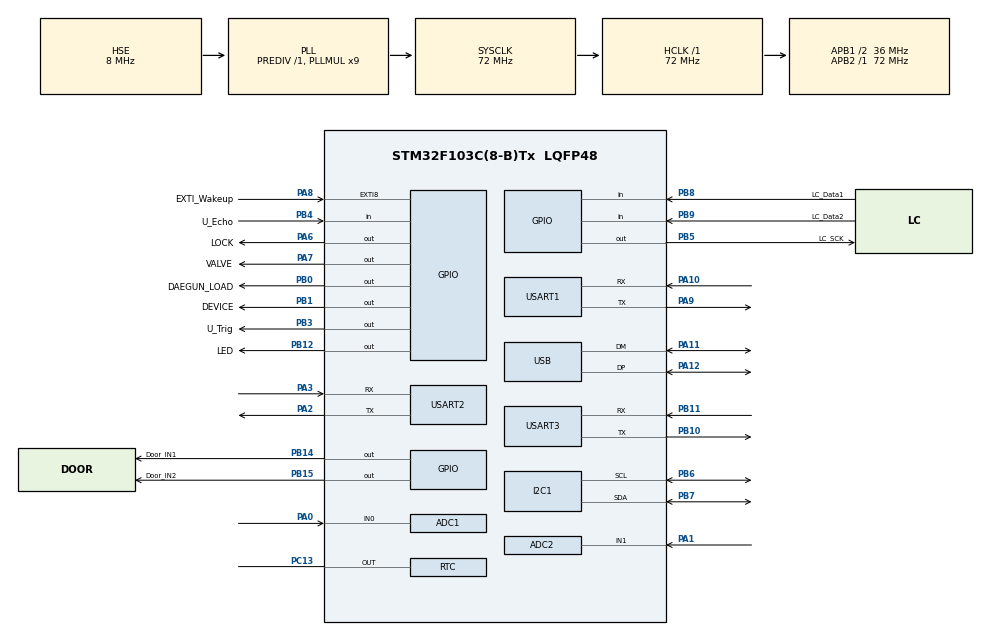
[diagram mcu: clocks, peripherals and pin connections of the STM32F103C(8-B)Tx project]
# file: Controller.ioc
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ADC1.Channel-0\#ChannelRegularConversion=ADC_CHANNEL_0
ADC1.NbrOfConversionFlag=1
ADC1.Rank-0\#ChannelRegularConversion=1
ADC1.SamplingTime-0\#ChannelRegularConversion=ADC_SAMPLETIME_1CYCLE_5
ADC1.master=1
ADC2.Channel-0\#ChannelRegularConversion=ADC_CHANNEL_1
ADC2.NbrOfConversionFlag=1
ADC2.Rank-0\#ChannelRegularConversion=1
ADC2.SamplingTime-0\#ChannelRegularConversion=ADC_SAMPLETIME_1CYCLE_5
I2C1.I2C_Mode=I2C_Fast
Mcu.Family=STM32F1
Mcu.Name=STM32F103C(8-B)Tx
Mcu.Package=LQFP48
NVIC.EXTI9_5_IRQn=true\:0\:0\:false\:false\:true\:true\:true\:true
NVIC.PriorityGroup=NVIC_PRIORITYGROUP_4
NVIC.RTC_Alarm_IRQn=true\:0\:0\:false\:false\:true\:true\:true\:true
NVIC.RTC_IRQn=true\:0\:0\:false\:false\:true\:true\:true\:true
NVIC.USART1_IRQn=true\:0\:0\:false\:false\:true\:true\:true\:true
NVIC.USART2_IRQn=true\:0\:0\:false\:false\:true\:true\:true\:true
NVIC.USB_LP_CAN1_RX0_IRQn=true\:0\:0\:false\:false\:true\:false\:true\:true
PA0-WKUP.Signal=ADCx_IN0
PA1.Signal=ADCx_IN1
PA10.Mode=Asynchronous
PA10.Signal=USART1_RX
PA11.Mode=Device
PA11.Signal=USB_DM
PA12.Mode=Device
PA12.Signal=USB_DP
PA13.Mode=Serial_Wire
PA13.Signal=SYS_JTMS-SWDIO
PA14.Mode=Serial_Wire
PA14.Signal=SYS_JTCK-SWCLK
PA2.Mode=Asynchronous
PA2.Signal=USART2_TX
PA3.Mode=Asynchronous
PA3.Signal=USART2_RX
PA6.GPIO_Label=LOCK
PA6.GPIO_ModeDefaultOutputPP=GPIO_MODE_OUTPUT_PP
PA6.GPIO_PuPd=GPIO_NOPULL
PA6.PinState=GPIO_PIN_RESET
PA6.Signal=GPIO_Output
PA7.GPIO_Label=VALVE
PA7.GPIO_ModeDefaultOutputPP=GPIO_MODE_OUTPUT_PP
PA7.GPIO_PuPd=GPIO_NOPULL
PA7.PinState=GPIO_PIN_RESET
PA7.Signal=GPIO_Output
PA8.GPIO_Label=EXTI_Wakeup
PA8.Signal=GPXTI8
PA9.Mode=Asynchronous
PA9.Signal=USART1_TX
PB0.GPIO_Label=DAEGUN_LOAD
PB0.GPIO_ModeDefaultOutputPP=GPIO_MODE_OUTPUT_OD
PB0.GPIO_PuPd=GPIO_NOPULL
PB0.PinState=GPIO_PIN_SET
PB0.Signal=GPIO_Output
PB1.GPIO_Label=DEVICE
PB1.GPIO_ModeDefaultOutputPP=GPIO_MODE_OUTPUT_OD
PB1.GPIO_PuPd=GPIO_PULLUP
PB1.PinState=GPIO_PIN_RESET
PB1.Signal=GPIO_Output
PB10.Mode=Asynchronous
PB10.Signal=USART3_TX
PB11.Mode=Asynchronous
PB11.Signal=USART3_RX
PB12.GPIO_Label=LED
PB12.Signal=GPIO_Output
PB14.GPIO_Label=Door_IN1
PB14.Signal=GPIO_Output
PB15.GPIO_Label=Door_IN2
PB15.Signal=GPIO_Output
PB3.GPIO_Label=U_Trig
PB3.Signal=GPIO_Output
PB4.GPIO_Label=U_Echo
PB4.GPIO_PuPd=GPIO_PULLDOWN
PB4.Signal=GPIO_Input
PB5.GPIO_Label=LC_SCK
PB5.Signal=GPIO_Output
PB6.Mode=I2C
PB6.Signal=I2C1_SCL
PB7.Mode=I2C
PB7.Signal=I2C1_SDA
PB8.GPIO_Label=LC_Data1
PB8.GPIO_PuPd=GPIO_PULLUP
PB8.Signal=GPIO_Input
PB9.GPIO_Label=LC_Data2
PB9.GPIO_PuPd=GPIO_PULLUP
PB9.Signal=GPIO_Input
PC13-TAMPER-RTC.Mode=RTC OUT
PC13-TAMPER-RTC.Signal=RTC_OUT
PC14-OSC32_IN.Mode=LSE-External-Oscillator
PC14-OSC32_IN.Signal=RCC_OSC32_IN
PC15-OSC32_OUT.Mode=LSE-External-Oscillator
PC15-OSC32_OUT.Signal=RCC_OSC32_OUT
PD0-OSC_IN.Mode=HSE-External-Oscillator
PD0-OSC_IN.Signal=RCC_OSC_IN
PD1-OSC_OUT.Mode=HSE-External-Oscillator
PD1-OSC_OUT.Signal=RCC_OSC_OUT
ProjectManager.HeapSize=0x200
ProjectManager.StackSize=0x400
ProjectManager.TargetToolchain=STM32CubeIDE
RCC.ADCPresc=RCC_ADCPCLK2_DIV6
RCC.AHBFreq_Value=72000000
RCC.APB1CLKDivider=RCC_HCLK_DIV2
RCC.APB1Freq_Value=36000000
RCC.APB1TimFreq_Value=72000000
RCC.APB2Freq_Value=72000000
RCC.APB2TimFreq_Value=72000000
RCC.HCLKFreq_Value=72000000
RCC.PLLMUL=RCC_PLL_MUL9
RCC.RTCClockSelection=RCC_RTCCLKSOURCE_LSE
RCC.SYSCLKFreq_VALUE=72000000
RCC.SYSCLKSource=RCC_SYSCLKSOURCE_PLLCLK
RCC.USBFreq_Value=48000000
RCC.USBPrescaler=RCC_USBCLKSOURCE_PLL_DIV1_5
RTC.Format=RTC_FORMAT_BIN
RTC.Hours_A-RTC\ OUT=12
SH.ADCx_IN0.0=ADC1_IN0,IN0
SH.ADCx_IN1.0=ADC2_IN1,IN1
TIM1.Period=65535-1
TIM1.Prescaler=72-1
USART1.VirtualMode=VM_ASYNC
USART2.VirtualMode=VM_ASYNC
USART3.VirtualMode=VM_ASYNC
USB_DEVICE.APP_RX_DATA_SIZE=512
USB_DEVICE.APP_TX_DATA_SIZE=512
USB_DEVICE.CLASS_NAME_FS=CDC
USB_DEVICE.USBD_DEBUG_LEVEL=0
USB_DEVICE.VirtualMode=Cdc
USB_DEVICE.VirtualModeFS=Cdc_FS
VP_RTC_VS_RTC_Activate.Mode=RTC_Enabled
VP_RTC_VS_RTC_Calendar.Mode=RTC_Calendar
VP_TIM1_VS_ClockSourceINT.Mode=Internal
VP_USB_DEVICE_VS_USB_DEVICE_CDC_FS.Mode=CDC_FS
board=custom

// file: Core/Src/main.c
/* USER CODE BEGIN Header */
/**
  ******************************************************************************
  * @file           : main.c
  * @brief          : Main program body
  ******************************************************************************
  * @attention
  *
  * Copyright (c) 2025 STMicroelectronics.
  * All rights reserved.
  *
  * This software is licensed under terms that can be found in the LICENSE file
  * in the root directory of this software component.
  * If no LICENSE file comes with this software, it is provided AS-IS.
  *
  ******************************************************************************
  */
/* USER CODE END Header */
#include "main.h"
#include "usb_device.h"

/* USER CODE BEGIN Includes */
/* CDC set  up */
#include "usbd_cdc_if.h"
/* USER CODE END Includes */

/* USER CODE BEGIN PTD */

// Receive buffer
RTC_AlarmTypeDef sAlarm = {0};
RTC_TimeTypeDef sTime = {0};

uint8_t LOG_buffer[UART_RX_BUFFER_SIZE];
// Sending buffer
char log_msg[UART_RX_BUFFER_SIZE];
volatile bool LOG_DataValid = true;

//Wake up
volatile bool EXTI_Wakeup = false;
volatile bool Alarm_Wakeup = false;
volatile bool flag_EXTI = false;
//POST PhoneNum
char PhoneNum[20];

//Data SIM, id
const char ID[] = "testmachine";
const char countryDialCode[] = "+84";
const char url_postper[] = "https://api.admin.bi-oil.app/postcontainer";
const char url_identity[] = "https://api.admin.bi-oil.app/identity";
const char url_postuco[] = "https://api.admin.bi-oil.app/postuco";
static char data_PostSimCom[150];

//Data herder
char data_TransmitHeader[100];

//Value water and oil
float volume_water; //(Liter)
float volume_oil;   //(Liter)

//Volume on container and battery
float value_VolContainer; // (%)
float value_Voltage;	  // (V)

float distance_Tof;
float value_LoadCell;
float volume_total;

int water_number = -1;
int watersensor_value = -1;

WATER_HandleTypeDef hws;

/////
char data_Ok[] = "OK";
char data_Fail[] = "FAIL";
char data_Oil_Water[] = "O1.23W4.56E";
const char* data_Post = "{\"volume\": 123,\"battery\": 456}";

typedef enum {
	HANDSHAKE,
	POST_NUM_QR,
	POST_UCO,
	POST_PER,
	OPEN_INPUT,
	CLOSE_INPUT,
	UNLOCK_DOOR,
	SLEEP,
	ALARM_WAKEUP,
	EXTI_WAKEUP,
	OPEN_VALVE,
	CLOSE_VALVE,
	TURN_OFF,
	TEST_PERCENT,
	TEST_MEASURE,
	TEST_SDCLOSE,
	TEST_SDOPEN,
	SPACE
} Msg_Header;

typedef enum {
	ERR_SIMCOM,
	ERR_ULTRA,
	ERR_TOF,
	ERR_LOADCELL
} Err_Device;

Msg_Header FUNCTION;

//typedef enum {
//	IDLE,			// Run without doing anything and not sleep
//	INIT,			// Initiate peripheral and handshake
//	VALID,			// Check if user is valid or not QR and NUM input, Update number or QR, machine id to the server
//	OPENS,			// Open small door
//	POSTPER,		// Update the container percentage
//	CLOSES,			// Close the door and start the measuring process
//	POSTDATA,		// Update the user id, input amount and machine if to the server
//	SLEEP,			// Sleep allowance and go to sleep
//	ALARM,			// Display update and stop user from using machine
//} command;

/* USER CODE END PTD */

ADC_HandleTypeDef hadc1;
ADC_HandleTypeDef hadc2;

I2C_HandleTypeDef hi2c1;

RTC_HandleTypeDef hrtc;

TIM_HandleTypeDef htim1;

UART_HandleTypeDef huart1;
UART_HandleTypeDef huart2;
UART_HandleTypeDef huart3;

void SystemClock_Config(void);
static void MX_GPIO_Init(void);
static void MX_I2C1_Init(void);
static void MX_USART1_UART_Init(void);
static void MX_USART2_UART_Init(void);
static void MX_TIM1_Init(void);
static void MX_ADC1_Init(void);
static void MX_ADC2_Init(void);
static void MX_RTC_Init(void);
static void MX_USART3_UART_Init(void);

/* USER CODE BEGIN 0 */
void CheckHeader(void){
	if(strstr((char *)LOG_buffer, "[CMD]HANDSHAKE")) {
		FUNCTION = HANDSHAKE;
	}
	else if(strstr((char *)LOG_buffer, "[VALID]") && strstr((char *)LOG_buffer, "ENDSTR")) {
		FUNCTION = POST_NUM_QR;
	}
	else if(strstr((char *)LOG_buffer, "[CMD]OPENS")) {
		FUNCTION = OPEN_INPUT;
	}
	else if(strstr((char *)LOG_buffer, "[CMD]CLOSES")) {
		FUNCTION = CLOSE_INPUT;
	}
	else if(strstr((char *)LOG_buffer, "[CMD]POSTPER")) {
		FUNCTION = POST_PER;
	}
	else if(strstr((char *)LOG_buffer, "[CMD]POSTDATA")){
		FUNCTION = POST_UCO;
	}
	else if(strstr((char *)LOG_buffer, "[CMD]OPENB")) {
		FUNCTION = UNLOCK_DOOR;
	}
	else if(strstr((char *)LOG_buffer, "[CMD]SLEEP")) {
		FUNCTION = SLEEP;
	}
	else if(strstr((char *)LOG_buffer, "[CMD]CLOSEV")) {
		FUNCTION = CLOSE_VALVE;
	}
	else if(strstr((char *)LOG_buffer, "[CMD]OPENV")) {
		FUNCTION = OPEN_VALVE;
	}
	else if(strstr((char *)LOG_buffer, "[CMD]OFF")) {
		FUNCTION = TURN_OFF;
	}////////////////////////////////////////////////////////
	else if(strstr((char *)LOG_buffer, "[TEST]PERCENT")) {
		FUNCTION = TEST_PERCENT;
	}
	else if(strstr((char *)LOG_buffer, "[TEST]MEASURE")) {
		FUNCTION = TEST_MEASURE;
	}
	else if(strstr((char *)LOG_buffer, "[TEST]SDCLOSE")) {
		FUNCTION = TEST_SDCLOSE;
	}
	else if(strstr((char *)LOG_buffer, "[TEST]SDOPEN")) {
		FUNCTION = TEST_SDOPEN;
	}
}

HAL_StatusTypeDef LOG(const char* header,const char *cmd){
//	//LOG_DataValid = false;
//	//prefix adding
//	strcpy(log_msg, header);
//	strcat(log_msg, cmd);
//	return HAL_UART_Transmit(&huart1, (uint8_t*)log_msg, strlen(log_msg)+1, 50);
	memset(log_msg,'\0',UART_RX_BUFFER_SIZE);
	strcpy(log_msg, header);
	strcat(log_msg, cmd);
	strcat(log_msg, "#");
//	strcat(log_msg, "\n");

	HAL_UART_Transmit(&huart1, (uint8_t*)log_msg, strlen(log_msg), 50);
	CDC_Transmit_FS((uint8_t *)log_msg, strlen(log_msg));
	return HAL_OK;
}

/* Check command function */
//command CheckCommand(void){
//	//check if the data have some thing
//	if(LOG_DataValid){
//		LOG_DataValid = false;
//		if(strstr((char *)LOG_buffer, "HANDSHAKE")){
//			return INIT;
//		} else if(strstr((char *)LOG_buffer, "[VALID]")){
//			//take out number or QR
//			return VALID;
//		} else if(strstr((char *)LOG_buffer, "OPENS")){
//			return OPENS;
//		} else if(strstr((char *)LOG_buffer, "POSTPER")){
//			return POSTPER;
//		} else if(strstr((char *)LOG_buffer, "CLOSES")){
//			return CLOSES;
//		} else if(strstr((char *)LOG_buffer, "POSTDATA")){
//			return POSTDATA;
//		} else if(strstr((char *)LOG_buffer, "SLEEP")){
//			return SLEEP;
//		}
//	} else return IDLE;
//	//check rtc flag
//}

float VolumeTotal(float h) {
    float R = 12.5;
    float r = 2.0;
    float H_cone = 8.0;
    float H_cylinder = 8.0;
    float H_total = H_cone + H_cylinder;

    if (h < 0 || h > H_total) {
        return -1.0;
    }
    if (h <= H_cone) {
    	float r_h = r + ((R - r) / H_cone) * h;
        return (1.0 / 3.0) * 3.14 * h * (r_h * r_h + r_h * r + r * r);

    } else {
    	float V_cone_full = (1.0 / 3.0) * 3.14 * H_cone * (R * R + R * r + r * r);
    	float h_cylinder_part = h - H_cone;
    	float V_cylinder_part = 3.14 * R * R * h_cylinder_part;
        return (V_cone_full + V_cylinder_part)/1000; //liter unit
    }
}
/* USER CODE END 0 */

int main(void)
{

  /* MCU Configuration--------------------------------------------------------*/

  /* Reset of all peripherals, Initializes the Flash interface and the Systick. */
  HAL_Init();

  /* Configure the system clock */
  SystemClock_Config();

  /* Initialize all configured peripherals */
  MX_GPIO_Init();
  MX_I2C1_Init();
  WATER_InitDefault(&hi2c1);     // Water sensor driver init
  MX_USART1_UART_Init();
  MX_USART2_UART_Init();
  MX_TIM1_Init();
  MX_ADC1_Init();
  MX_ADC2_Init();
  MX_RTC_Init();
  MX_USB_DEVICE_Init();
  MX_USART3_UART_Init();
  /* USER CODE BEGIN 2 */
  HAL_UARTEx_ReceiveToIdle_IT(&huart1, LOG_buffer, UART_RX_BUFFER_SIZE);
  HAL_UARTEx_ReceiveToIdle_IT(&huart2, SIM_buffer, UART_RX_BUFFER_SIZE);
  //TOF SENSOR
  statInfo_t_VL53L0X distanceStr;
  initVL53L0X(1, &hi2c1);
  uint16_t offset_DistanceTof = VL53L0X_OFFSET(&distanceStr);

  //Ultrasonic
  HAL_TIM_Base_Start(&htim1);

  // Load cellHA
  HX711_t scale1;
  HX711_t scale2;
  float calibration_factor = 200.0f;

  //Voltage
  HAL_ADC_Start(&hadc1);
  HAL_ADC_Start(&hadc2);

  //Setup
  FUNCTION = SPACE;
//  HAL_Delay(3000);

  HAL_GPIO_WritePin(LED_GPIO_Port, LED_Pin, GPIO_PIN_SET); //Turn on led
  HAL_GPIO_WritePin(DEVICE_GPIO_Port, DEVICE_Pin, GPIO_PIN_SET);
//  HAL_UART_Transmit(&huart1, (uint8_t*) "STM32_OK", sizeof("STM32_OK"), 50);
  LOG("[DEBUG]","STM32 OK!");
  SIM_Sleep(3000);
  /* USER CODE END 2 */

  HAL_Init();
    SystemClock_Config();
    MX_GPIO_Init();

    while (1)
    {
      HAL_GPIO_TogglePin(GPIOC, GPIO_PIN_13);
      HAL_Delay(1000); // 1초 지연
    }

  /* Infinite loop */
  while (1)
  {

    /* USER CODE BEGIN 3 */
//		switch (CheckCommand()){
//			case IDLE:
//				/* Do nothing */
//				break;
//			case INIT:
//				if (readRangeSingleMillimeters(&distanceStr) == 65535
//					|| Ultra_ReadDistance() == -1.0f
//					|| SIMCom_HandShake() == -1.0f)
//				{
//					LOG("[CMD]","FAIL");
//				}else{
//					LOG("[CMD]","OK");
//				}
//				break;
//			case VALID:
//				break;
//			case OPENS:
//				HAL_GPIO_WritePin(GPIOB, GPIO_PIN_10, GPIO_PIN_SET);
//				HAL_GPIO_WritePin(GPIOB, GPIO_PIN_11, GPIO_PIN_RESET);
//				LOG("[CMD]","OK");
//				break;
//			case POSTPER:
//				snprintf(data_PostSimCom, sizeof(data_PostSimCom), "{\"volume\": %d,\"battery\": %d}\r", 99, 99);
//				SIMCom_Post(data_PostSimCom, id, 8000);
//				break;
//			case CLOSES:
//				HAL_GPIO_WritePin(GPIOB, GPIO_PIN_10, GPIO_PIN_RESET);
//				HAL_GPIO_WritePin(GPIOB, GPIO_PIN_11, GPIO_PIN_SET);
//				// Calculate data
//				LOG("[CMD]",(char*)data_Oil_Water);
//				break;
//			case POSTDATA:
//				value_Voltage = Read_Voltage();
//				// post user id + oil amount + water amount
//				break;
//			case SLEEP:
//				// Let the controller sleep or trigger the sleep flag
//		        HAL_SuspendTick();
//		        HAL_PWR_EnterSTOPMode(PWR_LOWPOWERREGULATOR_ON, PWR_STOPENTRY_WFI);
//		        //Wake up
//		        HAL_ResumeTick();
//		        SystemClock_Config();
//		        MX_USART1_UART_Init();
//		        MX_USART2_UART_Init();
//		        HAL_UARTEx_ReceiveToIdle_IT(&huart1, SIM_buffer, UART_RX_BUFFER_SIZE);
//		        HAL_UARTEx_ReceiveToIdle_IT(&huart2, LOG_buffer, UART_RX_BUFFER_SIZE);
//				break;
//			case ALARM:
//				// Handle RTC job or run POSTPER again but signal the header to stop or holding
//				break;
//		}
	  if(LOG_DataValid){
//		   LOG("[ECHO]",(char*)LOG_buffer);				//Echo message for testing only
		  HAL_UART_Transmit(&huart1,LOG_buffer, strlen((char*)LOG_buffer)+1, 50);
		  /* Change the stage when command come in */
		  CheckHeader();
		  LOG_DataValid = false;
		  switch (FUNCTION) {
			  case HANDSHAKE:
				  SystemClock_Config();
				  MX_USART1_UART_Init();
				  MX_USART2_UART_Init();
  //				  MX_USART3_UART_Init();
				  HAL_UARTEx_ReceiveToIdle_IT(&huart1, LOG_buffer, UART_RX_BUFFER_SIZE);
				  HAL_UARTEx_ReceiveToIdle_IT(&huart2, SIM_buffer, UART_RX_BUFFER_SIZE);
				  MX_ADC1_Init();
				  MX_ADC2_Init();
				  MX_GPIO_Init();
				  MX_I2C1_Init();
				  flag_EXTI = false;
				  LOG("[ANS]", "STM_WAKE_UP");
				  HAL_GPIO_WritePin(LED_GPIO_Port, LED_Pin, GPIO_PIN_SET); //Turn on the led
				  uint16_t error_code = 0;
				  char error_code_char[10];

				  HAL_GPIO_WritePin(DEVICE_GPIO_Port, DEVICE_Pin, GPIO_PIN_RESET); //Turn on sensor
				  initVL53L0X(1, &hi2c1);
				  HX711_Init(&scale1, LC_Data1_GPIO_Port, LC_Data1_Pin, LC_SCK_GPIO_Port, LC_SCK_Pin, calibration_factor);
				  HX711_Init(&scale2, LC_Data2_GPIO_Port, LC_Data2_Pin, LC_SCK_GPIO_Port, LC_SCK_Pin, calibration_factor);

				  if (SIM_Wakeup(3000) != 0) {
					  error_code += 1;
				  }
				  if (VL53L0X_OFFSET(&distanceStr) == -1.0f) {
					  error_code += 10;
				  }
				  if (Ultra_ReadDistance() == -1.0f) {
					  error_code += 100;
				  }
				  if((Ultra_ReadDistance() <= 20.0) && (Ultra_ReadDistance() >= 0)) {
					  LOG("[ANS]", "FULL");
				  }
				  if ((HX711_Tare(&scale1, 10, 2000) == -1.0f) || (HX711_Tare(&scale2, 10, 2000) == -1.0f)) {
					  error_code += 1000;
				  }
				  if (error_code == 0) {
					  LOG("[ANS]", "OK");
				  }else{
					  snprintf(error_code_char, sizeof(error_code_char), "%d", error_code);

					  LOG("[ANS]", "FAIL");
					  LOG("[DEBUG]", error_code_char);
					  error_code = 0;
				  }

				  SIM_Sleep(3000);
				  FUNCTION = SPACE;
				  break;
			  case POST_NUM_QR:
				  memset(PhoneNum,'\0',20);
				  memset(data_PostSimCom,'\0',sizeof(data_PostSimCom));
				  //Prepare data
				  char* start_PhoneNum = strstr((char *)LOG_buffer, "[VALID]") + 7;
				  char* end_PhoneNum = strstr((char *)LOG_buffer, "ENDSTR");
				  strncpy(PhoneNum, start_PhoneNum, end_PhoneNum - start_PhoneNum);
				  snprintf(data_PostSimCom, sizeof(data_PostSimCom),
						  "{\"phoneNumber\":\"%s\",\"countryDialCode\":\"%s\",\"machineId\":\"%s\"}\r",
						  PhoneNum, countryDialCode, ID);
				  LOG("DEBUG", data_PostSimCom);
				  //SIM_post
				  if (SIM_Wakeup(3000)){
					  LOG("[ANS]", "FAIL");
				  }
				  if (!SIMCom_Post(data_PostSimCom, url_identity, 5000)) {
					  //LOG("[DEBUG]",(char*)SIM_data);
//					  // Driver case
					  if (strstr((char *)SIM_data, "\"driver\":true")) {
						  //Open the door
						  LOG("[ANS]", "DRIVER:TRUE");
					  }
					  // User case
					  else if (strstr((char *)SIM_data, "\"driver\":false")) {
						  if(strstr((char *)SIM_data, "\"userId\":")){
							  LOG("[ANS]", "OK");
						  }

					  }
					  // New user
					  if(strstr((char*)SIM_data, "\"message\":\"no user found\"")) {
						  LOG("[ANS]", "REJECT");
					  }
				  } else {
					  LOG("[ANS]", "SIM_FAIL");
				  }
				  SIM_Sleep(3000);
				  FUNCTION = SPACE;
				  break;
			  case POST_UCO:
				  memset(data_PostSimCom,'\0',sizeof(data_PostSimCom));
				  //prepare data
				  snprintf(data_PostSimCom, sizeof(data_PostSimCom),
						  "{\"phoneNumber\": \"%s\", \"countryDialCode\": \"%s\", \"machineId\": \"%s\", \"oil\": %.2f, \"water\": %.2f}\r",
						  PhoneNum, countryDialCode, ID, volume_oil, volume_water);
				  LOG("DEBUG", data_PostSimCom);
				  //SIM_post
				  if (SIM_Wakeup(3000)){
					  LOG("[ANS]", "FAIL");
				  }
				  if(!SIMCom_Post(data_PostSimCom, url_postuco, 5000)) {
					  if (strstr((char *)SIM_data, "true")) {
						  LOG("[ANS]", "OK");
					  }
					  else if (strstr((char *)SIM_data, "false")) {
						  LOG("[ANS]", "REJECT");
					  }
					  else {
						  LOG("[ANS]", "UNDEFINE");
					  }
				  }
				  else {
					  LOG("[ANS]", "FAIL");
				  }
				  SIM_Sleep(3000);
				  FUNCTION = SPACE;
				  break;
			  case POST_PER:
				  memset(data_PostSimCom,'\0',sizeof(data_PostSimCom));
				  //Prepare data
				  value_VolContainer = Ultra_ReadDistance();
				  value_Voltage = Read_Voltage();
				  //Prepare data
				  snprintf(data_PostSimCom, sizeof(data_PostSimCom),
						  "{\"machineId\": \"%s\", \"volume\": %.2f, \"battery\": %.2f}\r",
						  ID, value_VolContainer, value_Voltage);
				  LOG("DEBUG", data_PostSimCom);
				  //SIM_post
				  if (SIM_Wakeup(3000)){
					  LOG("[ANS]", "FAIL");
				  }
				  if (!SIMCom_Post(data_PostSimCom, url_postper, 5000)) {
					  if (strstr((char *)SIM_data, "true")) {
						  LOG("[ANS]", "OK");
					  }
					  else if (strstr((char *)SIM_data, "false")) {
						  LOG("[ANS]", "REJECT");
					  }
					  else {
						  LOG("[ANS]", "UNDEFINE");
					  }
				  } else {
					  LOG("[ANS]", "FAIL");
				  }
				  SIM_Sleep(3000);
				  FUNCTION = SPACE;
				  break;
			  case OPEN_INPUT:
//				  Control motor
				  HAL_GPIO_WritePin(Door_IN1_GPIO_Port, Door_IN1_Pin, GPIO_PIN_SET);
				  HAL_GPIO_WritePin(Door_IN2_GPIO_Port, Door_IN2_Pin, GPIO_PIN_RESET);

//				  //Close valve
				  HAL_GPIO_WritePin(VALVE_GPIO_Port, VALVE_Pin, GPIO_PIN_SET);

				  //Transmit to header
				  LOG("[ANS]", "OK");
				  FUNCTION = SPACE;
				  break;
			  case CLOSE_INPUT:
				  //Control motor
				  HAL_GPIO_WritePin(Door_IN1_GPIO_Port, Door_IN1_Pin, GPIO_PIN_RESET);
				  HAL_GPIO_WritePin(Door_IN2_GPIO_Port, Door_IN2_Pin, GPIO_PIN_SET);

				  //Take value from sensor
				  distance_Tof = VL53L0X_ReadDistance(&distanceStr, offset_DistanceTof); //(mm)
				  value_LoadCell = HX711_Get_Value(&scale1, 10, 2000) + HX711_Get_Value(&scale2, 10, 2000); //(gram)

			      // === Water sensor raw dump ===
//			      uint8_t raw[20];
//			      if (WATER_ReadRaw(NULL, raw) == HAL_OK) {
//			          char line[96];
//			          snprintf(line, sizeof(line), "WSRAW0:%u,%u,%u,%u,%u",
//			                   raw[0], raw[1], raw[2], raw[3], raw[4]);
//			          LOG("[DBG]", line);
//
//			          snprintf(line, sizeof(line), "WSRAW5:%u,%u,%u,%u,%u",
//			                   raw[5], raw[6], raw[7], raw[8], raw[9]);
//			          LOG("[DBG]", line);
//
//			          snprintf(line, sizeof(line), "WSRAW10:%u,%u,%u,%u,%u",
//			                   raw[10], raw[11], raw[12], raw[13], raw[14]);
//			          LOG("[DBG]", line);
//
//			          snprintf(line, sizeof(line), "WSRAW15:%u,%u,%u,%u,%u",
//			                   raw[15], raw[16], raw[17], raw[18], raw[19]);
//			          LOG("[DBG]", line);
//			      } else {
//			          LOG("[DBG]", "WSRAW ERR");
//			      }

			      // Water sensor value
			      watersensor_value = WATER_ReadHeightMM(220);   //(mm)
			      water_number      = WATER_ReadLastOn(220);     //last_on index

				  //Turn off the sensor
				  HAL_GPIO_WritePin(DEVICE_GPIO_Port, DEVICE_Pin, GPIO_PIN_SET);
				  //Calculate
//				  volume_total = VolumeTotal(16 - (distance_Tof / 10)); //liter unit
//				  volume_oil = (volume_total - value_LoadCell) / 0.085; //l iter unit
//				  volume_water = volume_total - volume_oil;
				  volume_oil = 1.23;
				  volume_water = 4.56;
				  //Transmit to header
				  snprintf(data_TransmitHeader, sizeof(data_TransmitHeader), "O%.2fW%.2fE", volume_oil, volume_water);
				  LOG("[ANS]", data_TransmitHeader);

				  // Check error values and print TOF / LoadCell
				  if (distance_Tof < 0) {
				      snprintf(data_TransmitHeader, sizeof(data_TransmitHeader),
				               "TOF=ERR");
				      LOG("[ANS]", data_TransmitHeader);
				  } else {
				      snprintf(data_TransmitHeader, sizeof(data_TransmitHeader),
				               "TOF=%.2fmm", distance_Tof);
				      LOG("[ANS]", data_TransmitHeader);
				  }

				  if (value_LoadCell < 0) {
				      snprintf(data_TransmitHeader, sizeof(data_TransmitHeader),
				               "LC=ERR");
				      LOG("[ANS]", data_TransmitHeader);
				  } else {
				      snprintf(data_TransmitHeader, sizeof(data_TransmitHeader),
				               "LC=%.2fg", value_LoadCell);
				      LOG("[ANS]", data_TransmitHeader);
				  }

			      // WaterSensor print
			      if (watersensor_value < 0) {
			          snprintf(data_TransmitHeader, sizeof(data_TransmitHeader), "WS=ERR");
			          LOG("[ANS]", data_TransmitHeader);
			      } else {
			          snprintf(data_TransmitHeader, sizeof(data_TransmitHeader), "WS=%dmm", watersensor_value);
			          LOG("[ANS]", data_TransmitHeader);
			      }

			      snprintf(data_TransmitHeader, sizeof(data_TransmitHeader), "WS_IDX=%d", water_number);
			      LOG("[ANS]", data_TransmitHeader);

				  FUNCTION = SPACE;
				  break;
			  case UNLOCK_DOOR:
				  HAL_GPIO_WritePin(LOCK_GPIO_Port, LOCK_Pin, GPIO_PIN_SET);
				  HAL_Delay(200);
				  HAL_GPIO_WritePin(LOCK_GPIO_Port, LOCK_Pin, GPIO_PIN_RESET);
				  //Transmit to header
				  LOG("[ANS]", "OK");
				  FUNCTION = SPACE;
				  break;
			  case SLEEP:
				  //Turn off device
				  HAL_GPIO_WritePin(DEVICE_GPIO_Port, DEVICE_Pin, GPIO_PIN_SET); //Turn off sensor source
				  HAL_GPIO_WritePin(LED_GPIO_Port, LED_Pin, GPIO_PIN_RESET); //Turn off the led

				  HAL_ADC_DeInit(&hadc1);
				  HAL_ADC_DeInit(&hadc2);

				  HAL_GPIO_DeInit(LOCK_GPIO_Port, LOCK_Pin);
				  HAL_GPIO_DeInit(VALVE_GPIO_Port, VALVE_Pin);
				  HAL_GPIO_DeInit(DAEGUN_LOAD_GPIO_Port, DAEGUN_LOAD_Pin);
				  //HAL_GPIO_DeInit(DEVICE_GPIO_Port, DEVICE_Pin);
				  HAL_GPIO_DeInit(LED_GPIO_Port, LED_Pin);
				  HAL_GPIO_DeInit(Door_IN1_GPIO_Port, Door_IN1_Pin);
				  HAL_GPIO_DeInit(Door_IN2_GPIO_Port, Door_IN2_Pin);
				  HAL_GPIO_DeInit(U_Trig_GPIO_Port, U_Trig_Pin);
				  HAL_GPIO_DeInit(U_Echo_GPIO_Port, U_Echo_Pin);
				  HAL_GPIO_DeInit(LC_SCK_GPIO_Port, LC_SCK_Pin);
				  HAL_GPIO_DeInit(LC_Data1_GPIO_Port, LC_Data1_Pin);
				  HAL_GPIO_DeInit(LC_Data2_GPIO_Port, LC_Data2_Pin);
				  HAL_I2C_DeInit(&hi2c1);
				  //Transmit to header
				  flag_EXTI = true;
				  LOG("[ANS]", "STM_SLEEP");
				  //Sleep
//				  HAL_SuspendTick();
//				  HAL_PWR_EnterSTOPMode(PWR_LOWPOWERREGULATOR_ON, PWR_STOPENTRY_WFI);

//				  HAL_ResumeTick();
				  FUNCTION = SPACE;
				  break;
			  case ALARM_WAKEUP:
				  uint16_t error_code1 = 0;
				  LOG("[ANS]", "ALARM_WAKEUP");
				  HAL_GPIO_WritePin(DEVICE_GPIO_Port, DEVICE_Pin, GPIO_PIN_RESET); //Turn on sensor

				  initVL53L0X(1, &hi2c1);
				  HX711_Init(&scale1, LC_Data1_GPIO_Port, LC_Data1_Pin, LC_SCK_GPIO_Port, LC_SCK_Pin, calibration_factor);
				  HX711_Init(&scale2, LC_Data2_GPIO_Port, LC_Data2_Pin, LC_SCK_GPIO_Port, LC_SCK_Pin, calibration_factor);

				  if (SIM_Wakeup(3000) != 0) {
					  error_code1 += 1;
				  }
				  if (VL53L0X_OFFSET(&distanceStr) == -1.0f) {
					  error_code1 += 10;
				  }
				  if (Ultra_ReadDistance() == -1.0f) {
					  error_code1 += 100;
				  }
				  if ((HX711_Tare(&scale1, 10, 2000) == -1.0f) || (HX711_Tare(&scale2, 10, 2000) == -1.0f)) {
					  error_code1 += 1000;
				  }
				  //Prepare data
				  value_VolContainer = Ultra_ReadDistance();
				  value_Voltage = Read_Voltage();
				  //Prepare data
				  snprintf(data_PostSimCom, sizeof(data_PostSimCom),
						  "{\"machineId\": \"%s\", \"volume\": %.2f, \"battery\": %.2f}\r",
						  ID, value_VolContainer, value_Voltage);
				  LOG("DEBUG", data_PostSimCom);
				  //SIM_post
				  if (SIM_Wakeup(3000)){
					  LOG("[ANS]", "FAIL");
				  }
				  if (!SIMCom_Post(data_PostSimCom, url_postper, 5000)) {
					  if (strstr((char *)SIM_data, "true")) {
						  LOG("[ANS]", "OK");
					  }
					  else if (strstr((char *)SIM_data, "false")) {
						  LOG("[ANS]", "REJECT");
					  }
					  else {
						  LOG("[ANS]", "UNDEFINE");
					  }
				  } else {
					  LOG("[ANS]", "FAIL");
				  }
				  SIM_Sleep(3000);
				  FUNCTION = SLEEP;
				  break;
			  case EXTI_WAKEUP:
				  LOG("[ANS]", "EXTI_WAKEUP");
				  FUNCTION = SPACE;
				  break;
			  case CLOSE_VALVE:
				  LOG("[ANS]", "CLOSE_VALVE");
				  HAL_GPIO_WritePin(VALVE_GPIO_Port, VALVE_Pin, GPIO_PIN_SET);
				  FUNCTION = SPACE;
				  break;
			  case OPEN_VALVE:
				  LOG("[ANS]", "OPEN_VALVE");
				  HAL_GPIO_WritePin(VALVE_GPIO_Port, VALVE_Pin, GPIO_PIN_RESET);
				  FUNCTION = SPACE;
				  break;
			  case TURN_OFF:
				  LOG("[ANS]", "TURN_OFF_MOTOR_DOOR");
				  HAL_GPIO_WritePin(Door_IN1_GPIO_Port, Door_IN1_Pin, GPIO_PIN_RESET);
				  HAL_GPIO_WritePin(Door_IN2_GPIO_Port, Door_IN2_Pin, GPIO_PIN_RESET);
				  HAL_GPIO_WritePin(DEVICE_GPIO_Port, DEVICE_Pin, GPIO_PIN_SET); //Turn off sensor source
				  FUNCTION = SPACE;
				  break;
			  case TEST_PERCENT:
				  value_VolContainer = Ultra_ReadDistance();
				  value_Voltage = Read_Voltage();
				  //Prepare data
				  snprintf(data_PostSimCom, sizeof(data_PostSimCom), "{\"volume\": %.2f,\"battery\": %.2f}", value_VolContainer, value_Voltage);
				  //SIM_post
				  LOG("TEST", data_PostSimCom);

				  FUNCTION = SPACE;
				  break;
			  case TEST_MEASURE:
				  //Turn on the sensor
				  				  HAL_GPIO_WritePin(DEVICE_GPIO_Port, DEVICE_Pin, GPIO_PIN_RESET);
				  				  HAL_Delay(500);
				  				  //Take value from sensor
				  				  distance_Tof = VL53L0X_ReadDistance(&distanceStr, offset_DistanceTof); //(mm)
				  				  value_LoadCell = HX711_Get_Value(&scale1, 10, 2000) + HX711_Get_Value(&scale2, 10, 2000); //(gram)
				  				  float loadcell_1 = HX711_Get_Value(&scale1, 10, 2000);
				  				  float loadcell_2 = HX711_Get_Value(&scale2, 10, 2000);
				  				  // water sensor
				  //				  watersensor_value = WATER_ReadHeightMM(220);   //(mm)//
//				  				  water_weight = WATER_ReadLastOn(220);     //last_on index
				  				  //Turn off the sensor
				  				  HAL_GPIO_WritePin(DEVICE_GPIO_Port, DEVICE_Pin, GPIO_PIN_SET);
				  				  //Calculate
				  //				  volume_WS = VolumeTotal(water_weight*5) + 0.025f;
				  				  volume_total = VolumeTotal(16 - (distance_Tof / 10)); //liter unit
				  				  volume_oil = (volume_total - value_LoadCell) / 0.085; //liter unit
				  				  volume_water = volume_total - volume_oil;
				  				  water_number      = WATER_ReadLastOn(220);     //last_on index
				  				  //Transmit to header
				  //				  snprintf(data_TransmitHeader, sizeof(data_TransmitHeader), "O%.2fW%.2fE", volume_oil, volume_water);
				  				  snprintf(data_TransmitHeader, sizeof(data_TransmitHeader), "Distance = %.2f mm, LoadCell_1 = %.2f g, LoadCell_2 = %.2f g;", distance_Tof, loadcell_1, loadcell_2);
				  				  LOG("[ANS]", data_TransmitHeader);
				  				  // debug for water sensor
				  				  snprintf(data_TransmitHeader, sizeof(data_TransmitHeader), "WS_Index = %d", water_number);
				  				  LOG("[DEBUG]", data_TransmitHeader);
				  				  FUNCTION = SPACE;
				  				  break;
			  case TEST_SDCLOSE:
				  //Control motor
				  HAL_GPIO_WritePin(Door_IN1_GPIO_Port, Door_IN1_Pin, GPIO_PIN_RESET);
				  HAL_GPIO_WritePin(Door_IN2_GPIO_Port, Door_IN2_Pin, GPIO_PIN_SET);
				  //Transmit to header
				  LOG("[ANS]", "OK");
				  FUNCTION = SPACE;
				  break;
			  case TEST_SDOPEN:
				  //Control motor
				  HAL_GPIO_WritePin(Door_IN1_GPIO_Port, Door_IN1_Pin, GPIO_PIN_SET);
				  HAL_GPIO_WritePin(Door_IN2_GPIO_Port, Door_IN2_Pin, GPIO_PIN_RESET);
				  //Transmit to header
				  LOG("[ANS]", "OK");
				  FUNCTION = SPACE;
				  break;
			  case SPACE:
				  break;
		  }
		  memset(LOG_buffer,'\0',UART_RX_BUFFER_SIZE);		//reset receive buffer
	  }
  }
  /* USER CODE END 3 */
}

void SystemClock_Config(void)
{
  RCC_OscInitTypeDef RCC_OscInitStruct = {0};
  RCC_ClkInitTypeDef RCC_ClkInitStruct = {0};
  RCC_PeriphCLKInitTypeDef PeriphClkInit = {0};

  /** Initializes the RCC Oscillators according to the specified parameters
  * in the RCC_OscInitTypeDef structure.
  */
  RCC_OscInitStruct.OscillatorType = RCC_OSCILLATORTYPE_HSE|RCC_OSCILLATORTYPE_LSE;
  RCC_OscInitStruct.HSEState = RCC_HSE_ON;
  RCC_OscInitStruct.HSEPredivValue = RCC_HSE_PREDIV_DIV1;
  RCC_OscInitStruct.LSEState = RCC_LSE_ON;
  RCC_OscInitStruct.HSIState = RCC_HSI_ON;
  RCC_OscInitStruct.PLL.PLLState = RCC_PLL_ON;
  RCC_OscInitStruct.PLL.PLLSource = RCC_PLLSOURCE_HSE;
  RCC_OscInitStruct.PLL.PLLMUL = RCC_PLL_MUL9;
  if (HAL_RCC_OscConfig(&RCC_OscInitStruct) != HAL_OK)
  {
    Error_Handler();
  }

  /** Initializes the CPU, AHB and APB buses clocks
  */
  RCC_ClkInitStruct.ClockType = RCC_CLOCKTYPE_HCLK|RCC_CLOCKTYPE_SYSCLK
                              |RCC_CLOCKTYPE_PCLK1|RCC_CLOCKTYPE_PCLK2;
  RCC_ClkInitStruct.SYSCLKSource = RCC_SYSCLKSOURCE_PLLCLK;
  RCC_ClkInitStruct.AHBCLKDivider = RCC_SYSCLK_DIV1;
  RCC_ClkInitStruct.APB1CLKDivider = RCC_HCLK_DIV2;
  RCC_ClkInitStruct.APB2CLKDivider = RCC_HCLK_DIV1;

  if (HAL_RCC_ClockConfig(&RCC_ClkInitStruct, FLASH_LATENCY_2) != HAL_OK)
  {
    Error_Handler();
  }
  PeriphClkInit.PeriphClockSelection = RCC_PERIPHCLK_RTC|RCC_PERIPHCLK_ADC
                              |RCC_PERIPHCLK_USB;
  PeriphClkInit.RTCClockSelection = RCC_RTCCLKSOURCE_LSE;
  PeriphClkInit.AdcClockSelection = RCC_ADCPCLK2_DIV6;
  PeriphClkInit.UsbClockSelection = RCC_USBCLKSOURCE_PLL_DIV1_5;
  if (HAL_RCCEx_PeriphCLKConfig(&PeriphClkInit) != HAL_OK)
  {
    Error_Handler();
  }
}

static void MX_ADC1_Init(void)
{

  ADC_ChannelConfTypeDef sConfig = {0};

  /** Common config
  */
  hadc1.Instance = ADC1;
  hadc1.Init.ScanConvMode = ADC_SCAN_DISABLE;
  hadc1.Init.ContinuousConvMode = DISABLE;
  hadc1.Init.DiscontinuousConvMode = DISABLE;
  hadc1.Init.ExternalTrigConv = ADC_SOFTWARE_START;
  hadc1.Init.DataAlign = ADC_DATAALIGN_RIGHT;
  hadc1.Init.NbrOfConversion = 1;
  if (HAL_ADC_Init(&hadc1) != HAL_OK)
  {
    Error_Handler();
  }

  /** Configure Regular Channel
  */
  sConfig.Channel = ADC_CHANNEL_0;
  sConfig.Rank = ADC_REGULAR_RANK_1;
  sConfig.SamplingTime = ADC_SAMPLETIME_1CYCLE_5;
  if (HAL_ADC_ConfigChannel(&hadc1, &sConfig) != HAL_OK)
  {
    Error_Handler();
  }

}

static void MX_ADC2_Init(void)
{

  ADC_ChannelConfTypeDef sConfig = {0};

  /** Common config
  */
  hadc2.Instance = ADC2;
  hadc2.Init.ScanConvMode = ADC_SCAN_DISABLE;
  hadc2.Init.ContinuousConvMode = DISABLE;
  hadc2.Init.DiscontinuousConvMode = DISABLE;
  hadc2.Init.ExternalTrigConv = ADC_SOFTWARE_START;
  hadc2.Init.DataAlign = ADC_DATAALIGN_RIGHT;
  hadc2.Init.NbrOfConversion = 1;
  if (HAL_ADC_Init(&hadc2) != HAL_OK)
  {
    Error_Handler();
  }

  /** Configure Regular Channel
  */
  sConfig.Channel = ADC_CHANNEL_1;
  sConfig.Rank = ADC_REGULAR_RANK_1;
  sConfig.SamplingTime = ADC_SAMPLETIME_1CYCLE_5;
  if (HAL_ADC_ConfigChannel(&hadc2, &sConfig) != HAL_OK)
  {
    Error_Handler();
  }

}

static void MX_I2C1_Init(void)
{

  hi2c1.Instance = I2C1;
  hi2c1.Init.ClockSpeed = 400000;
  hi2c1.Init.DutyCycle = I2C_DUTYCYCLE_2;
  hi2c1.Init.OwnAddress1 = 0;
  hi2c1.Init.AddressingMode = I2C_ADDRESSINGMODE_7BIT;
  hi2c1.Init.DualAddressMode = I2C_DUALADDRESS_DISABLE;
  hi2c1.Init.OwnAddress2 = 0;
  hi2c1.Init.GeneralCallMode = I2C_GENERALCALL_DISABLE;
  hi2c1.Init.NoStretchMode = I2C_NOSTRETCH_DISABLE;
  if (HAL_I2C_Init(&hi2c1) != HAL_OK)
  {
    Error_Handler();
  }

}

static void MX_RTC_Init(void)
{

  RTC_TimeTypeDef sTime = {0};
  RTC_DateTypeDef DateToUpdate = {0};
  RTC_AlarmTypeDef sAlarm = {0};

  /** Initialize RTC Only
  */
  hrtc.Instance = RTC;
  hrtc.Init.AsynchPrediv = RTC_AUTO_1_SECOND;
  hrtc.Init.OutPut = RTC_OUTPUTSOURCE_ALARM;
  if (HAL_RTC_Init(&hrtc) != HAL_OK)
  {
    Error_Handler();
  }

  /** Initialize RTC and set the Time and Date
  */
  sTime.Hours = 0;
  sTime.Minutes = 0;
  sTime.Seconds = 0;

  if (HAL_RTC_SetTime(&hrtc, &sTime, RTC_FORMAT_BIN) != HAL_OK)
  {
    Error_Handler();
  }
  DateToUpdate.WeekDay = RTC_WEEKDAY_MONDAY;
  DateToUpdate.Month = RTC_MONTH_JANUARY;
  DateToUpdate.Date = 1;
  DateToUpdate.Year = 0;

  if (HAL_RTC_SetDate(&hrtc, &DateToUpdate, RTC_FORMAT_BIN) != HAL_OK)
  {
    Error_Handler();
  }

  /** Enable the Alarm A
  */
  sAlarm.AlarmTime.Hours = 12;
  sAlarm.AlarmTime.Minutes = 0;
  sAlarm.AlarmTime.Seconds = 0;
  sAlarm.Alarm = RTC_ALARM_A;
  if (HAL_RTC_SetAlarm_IT(&hrtc, &sAlarm, RTC_FORMAT_BIN) != HAL_OK)
  {
    Error_Handler();
  }

}

static void MX_TIM1_Init(void)
{

  TIM_ClockConfigTypeDef sClockSourceConfig = {0};
  TIM_MasterConfigTypeDef sMasterConfig = {0};

  htim1.Instance = TIM1;
  htim1.Init.Prescaler = 72-1;
  htim1.Init.CounterMode = TIM_COUNTERMODE_UP;
  htim1.Init.Period = 65535-1;
  htim1.Init.ClockDivision = TIM_CLOCKDIVISION_DIV1;
  htim1.Init.RepetitionCounter = 0;
  htim1.Init.AutoReloadPreload = TIM_AUTORELOAD_PRELOAD_DISABLE;
  if (HAL_TIM_Base_Init(&htim1) != HAL_OK)
  {
    Error_Handler();
  }
  sClockSourceConfig.ClockSource = TIM_CLOCKSOURCE_INTERNAL;
  if (HAL_TIM_ConfigClockSource(&htim1, &sClockSourceConfig) != HAL_OK)
  {
    Error_Handler();
  }
  sMasterConfig.MasterOutputTrigger = TIM_TRGO_RESET;
  sMasterConfig.MasterSlaveMode = TIM_MASTERSLAVEMODE_DISABLE;
  if (HAL_TIMEx_MasterConfigSynchronization(&htim1, &sMasterConfig) != HAL_OK)
  {
    Error_Handler();
  }

}

static void MX_USART1_UART_Init(void)
{

  huart1.Instance = USART1;
  huart1.Init.BaudRate = 115200;
  huart1.Init.WordLength = UART_WORDLENGTH_8B;
  huart1.Init.StopBits = UART_STOPBITS_1;
  huart1.Init.Parity = UART_PARITY_NONE;
  huart1.Init.Mode = UART_MODE_TX_RX;
  huart1.Init.HwFlowCtl = UART_HWCONTROL_NONE;
  huart1.Init.OverSampling = UART_OVERSAMPLING_16;
  if (HAL_UART_Init(&huart1) != HAL_OK)
  {
    Error_Handler();
  }

}

static void MX_USART2_UART_Init(void)
{

  huart2.Instance = USART2;
  huart2.Init.BaudRate = 115200;
  huart2.Init.WordLength = UART_WORDLENGTH_8B;
  huart2.Init.StopBits = UART_STOPBITS_1;
  huart2.Init.Parity = UART_PARITY_NONE;
  huart2.Init.Mode = UART_MODE_TX_RX;
  huart2.Init.HwFlowCtl = UART_HWCONTROL_NONE;
  huart2.Init.OverSampling = UART_OVERSAMPLING_16;
  if (HAL_UART_Init(&huart2) != HAL_OK)
  {
    Error_Handler();
  }

}

static void MX_USART3_UART_Init(void)
{

  huart3.Instance = USART3;
  huart3.Init.BaudRate = 115200;
  huart3.Init.WordLength = UART_WORDLENGTH_8B;
  huart3.Init.StopBits = UART_STOPBITS_1;
  huart3.Init.Parity = UART_PARITY_NONE;
  huart3.Init.Mode = UART_MODE_TX_RX;
  huart3.Init.HwFlowCtl = UART_HWCONTROL_NONE;
  huart3.Init.OverSampling = UART_OVERSAMPLING_16;
  if (HAL_UART_Init(&huart3) != HAL_OK)
  {
    Error_Handler();
  }

}

static void MX_GPIO_Init(void)
{
  GPIO_InitTypeDef GPIO_InitStruct = {0};

  /* GPIO Ports Clock Enable */
  __HAL_RCC_GPIOC_CLK_ENABLE();
  __HAL_RCC_GPIOD_CLK_ENABLE();
  __HAL_RCC_GPIOA_CLK_ENABLE();
  __HAL_RCC_GPIOB_CLK_ENABLE();

  /*Configure GPIO pin Output Level */
  HAL_GPIO_WritePin(GPIOA, LOCK_Pin|VALVE_Pin, GPIO_PIN_RESET);

  /*Configure GPIO pin Output Level */
  HAL_GPIO_WritePin(DAEGUN_LOAD_GPIO_Port, DAEGUN_LOAD_Pin, GPIO_PIN_SET);

  /*Configure GPIO pin Output Level */
  HAL_GPIO_WritePin(GPIOB, DEVICE_Pin|LED_Pin|Door_IN1_Pin|Door_IN2_Pin
                          |U_Trig_Pin|LC_SCK_Pin, GPIO_PIN_RESET);

  /*Configure GPIO pins : LOCK_Pin VALVE_Pin */
  GPIO_InitStruct.Pin = LOCK_Pin|VALVE_Pin;
  GPIO_InitStruct.Mode = GPIO_MODE_OUTPUT_PP;
  GPIO_InitStruct.Pull = GPIO_NOPULL;
  GPIO_InitStruct.Speed = GPIO_SPEED_FREQ_LOW;
  HAL_GPIO_Init(GPIOA, &GPIO_InitStruct);

  /*Configure GPIO pin : DAEGUN_LOAD_Pin */
  GPIO_InitStruct.Pin = DAEGUN_LOAD_Pin;
  GPIO_InitStruct.Mode = GPIO_MODE_OUTPUT_OD;
  GPIO_InitStruct.Pull = GPIO_NOPULL;
  GPIO_InitStruct.Speed = GPIO_SPEED_FREQ_LOW;
  HAL_GPIO_Init(DAEGUN_LOAD_GPIO_Port, &GPIO_InitStruct);

  /*Configure GPIO pin : DEVICE_Pin */
  GPIO_InitStruct.Pin = DEVICE_Pin;
  GPIO_InitStruct.Mode = GPIO_MODE_OUTPUT_OD;
  GPIO_InitStruct.Pull = GPIO_PULLUP;
  GPIO_InitStruct.Speed = GPIO_SPEED_FREQ_LOW;
  HAL_GPIO_Init(DEVICE_GPIO_Port, &GPIO_InitStruct);

  /*Configure GPIO pins : LED_Pin Door_IN1_Pin Door_IN2_Pin U_Trig_Pin
                           LC_SCK_Pin */
  GPIO_InitStruct.Pin = LED_Pin|Door_IN1_Pin|Door_IN2_Pin|U_Trig_Pin
                          |LC_SCK_Pin;
  GPIO_InitStruct.Mode = GPIO_MODE_OUTPUT_PP;
  GPIO_InitStruct.Pull = GPIO_NOPULL;
  GPIO_InitStruct.Speed = GPIO_SPEED_FREQ_LOW;
  HAL_GPIO_Init(GPIOB, &GPIO_InitStruct);

  /*Configure GPIO pin : EXTI_Wakeup_Pin */
  GPIO_InitStruct.Pin = EXTI_Wakeup_Pin;
  GPIO_InitStruct.Mode = GPIO_MODE_IT_RISING;
  GPIO_InitStruct.Pull = GPIO_NOPULL;
  HAL_GPIO_Init(EXTI_Wakeup_GPIO_Port, &GPIO_InitStruct);

  /*Configure GPIO pin : U_Echo_Pin */
  GPIO_InitStruct.Pin = U_Echo_Pin;
  GPIO_InitStruct.Mode = GPIO_MODE_INPUT;
  GPIO_InitStruct.Pull = GPIO_PULLDOWN;
  HAL_GPIO_Init(U_Echo_GPIO_Port, &GPIO_InitStruct);

  /*Configure GPIO pins : LC_Data1_Pin LC_Data2_Pin */
  GPIO_InitStruct.Pin = LC_Data1_Pin|LC_Data2_Pin;
  GPIO_InitStruct.Mode = GPIO_MODE_INPUT;
  GPIO_InitStruct.Pull = GPIO_PULLUP;
  HAL_GPIO_Init(GPIOB, &GPIO_InitStruct);

  /* EXTI interrupt init*/
  HAL_NVIC_SetPriority(EXTI9_5_IRQn, 0, 0);
  HAL_NVIC_EnableIRQ(EXTI9_5_IRQn);

}

/* USER CODE BEGIN 4 */
void HAL_UARTEx_RxEventCallback(UART_HandleTypeDef *huart, uint16_t Size){
	// LOG UART Handle
	if (huart->Instance == USART1) {
		LOG_DataValid = true;
		HAL_UARTEx_ReceiveToIdle_IT(&huart1, LOG_buffer, UART_RX_BUFFER_SIZE);
	}
	// SIMCom UART Handle
	if (huart->Instance == USART2) {
		SIM_DataValid = true; // Set the flag to indicate valid SIM data
		HAL_UARTEx_ReceiveToIdle_IT(&huart2, SIM_buffer, UART_RX_BUFFER_SIZE);
	}
}

void USB_CDC_RxHandler(uint8_t* Buf, uint32_t Len)
{
	LOG_DataValid = true;
	memcpy(LOG_buffer, Buf, Len);
}

void HAL_GPIO_EXTI_Callback(uint16_t GPIO_Pin)
{
	if((GPIO_Pin == GPIO_PIN_8) && flag_EXTI)
	{
		//HAL_NVIC_DisableIRQ(EXTI4_IRQn);
		LOG_DataValid = true;
		FUNCTION = EXTI_WAKEUP;
	}
}

void HAL_RTC_AlarmAEventCallback(RTC_HandleTypeDef *hrtc)
{
	LOG_DataValid = true;
	FUNCTION = ALARM_WAKEUP;
	Set_RTC(0, 0, 0); //(Hour, Minute, Second)
}
/* USER CODE END 4 */

void Error_Handler(void)
{
  __disable_irq();
  while (1)
  {
  }
}
/************************/
